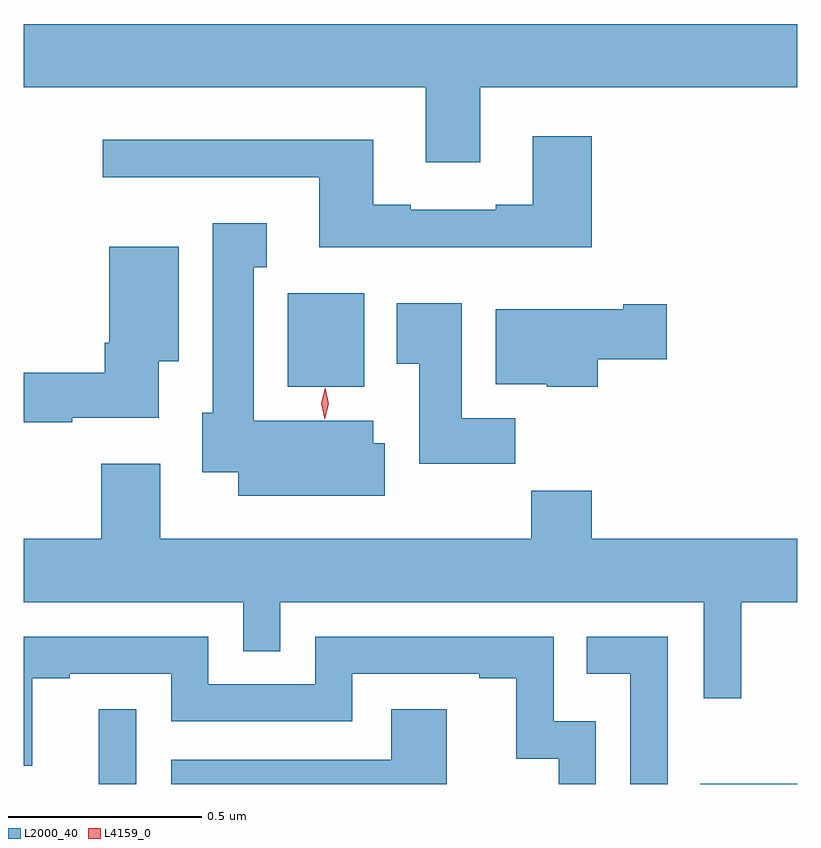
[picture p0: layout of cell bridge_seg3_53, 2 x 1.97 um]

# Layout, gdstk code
import gdstk
lib = gdstk.Library(unit=1e-6, precision=1e-09)
def R(c, l, rs):  # rectangles x0, y0, x1, y1
    for r in rs: c.add(gdstk.rectangle(r[:2], r[2:], *l))
def P(c, l, *ps):  # polygons
    for p in ps: c.add(gdstk.Polygon(p, *l))
L2000_40 = (2000, 40)
L4159_0 = (4159, 0)

bridge_seg3_53 = lib.new_cell('bridge_seg3_53')
R(bridge_seg3_53, L2000_40, [(986.717,701.778,986.814,701.971), (988.273,701.778,988.523,701.779), (987.206,702.806,987.403,703.048)])
P(bridge_seg3_53, L2000_40, [(987.703,703.58),(988.523,703.58),(988.523,703.744),(986.523,703.744),(986.523,703.58),(987.563,703.58),(987.563,703.386),(987.703,703.386)],
  [(987.992,703.453),(987.839,703.453),(987.839,703.276),(987.743,703.276),(987.743,703.263),(987.523,703.263),(987.523,703.276),(987.427,703.276),(987.427,703.444),(986.727,703.444),(986.727,703.347),(987.287,703.347),(987.287,703.166),(987.992,703.166)],
  [(987.457,702.659),(987.427,702.659),(987.427,702.718),(987.118,702.718),(987.118,703.115),(987.151,703.115),(987.151,703.228),(987.011,703.228),(987.011,702.738),(986.984,702.738),(986.984,702.584),(987.077,702.584),(987.077,702.524),(987.457,702.524)],
  [(986.648,702.726),(986.872,702.726),(986.872,702.872),(986.923,702.872),(986.923,703.168),(986.744,703.168),(986.744,702.919),(986.732,702.919),(986.732,702.842),(986.523,702.842),(986.523,702.714),(986.648,702.714)],
  [(987.794,702.724),(987.655,702.724),(987.655,703.021),(987.488,703.021),(987.488,702.865),(987.545,702.865),(987.545,702.606),(987.794,702.606)],
  [(988.007,702.877),(988.186,702.877),(988.186,703.019),(988.073,703.019),(988.073,703.006),(987.743,703.006),(987.743,702.812),(987.876,702.812),(987.876,702.806),(988.007,702.806)],
  [(988.379,702.248),(988.523,702.248),(988.523,702.412),(987.992,702.412),(987.992,702.536),(987.835,702.536),(987.835,702.412),(986.875,702.412),(986.875,702.607),(986.723,702.607),(986.723,702.412),(986.523,702.412),(986.523,702.248),(987.09,702.248),(987.09,702.121),(987.186,702.121),(987.186,702.248),(988.281,702.248),(988.281,702),(988.379,702)],
  [(988.188,702.159),(987.979,702.159),(987.979,702.063),(988.092,702.063),(988.092,701.778),(988.188,701.778)],
  [(988.002,701.94),(987.894,701.94),(987.894,702.159),(987.276,702.159),(987.276,702.036),(987,702.036),(987,702.159),(986.523,702.159),(986.523,701.825),(986.545,701.825),(986.545,702.051),(986.641,702.051),(986.641,702.063),(986.904,702.063),(986.904,701.94),(987.372,701.94),(987.372,702.063),(987.701,702.063),(987.701,702.051),(987.797,702.051),(987.797,701.843),(987.906,701.843),(987.906,701.778),(988.002,701.778)],
  [(987.617,701.971),(987.473,701.971),(987.473,701.841),(986.904,701.841),(986.904,701.778),(987.617,701.778)])
P(bridge_seg3_53, L4159_0, [(987.301,702.722),(987.301,702.722),(987.292,702.763),(987.302,702.803),(987.302,702.803),(987.302,702.803),(987.311,702.762),(987.301,702.722)])

lib.write_gds('bridge_seg3_53.gds')
